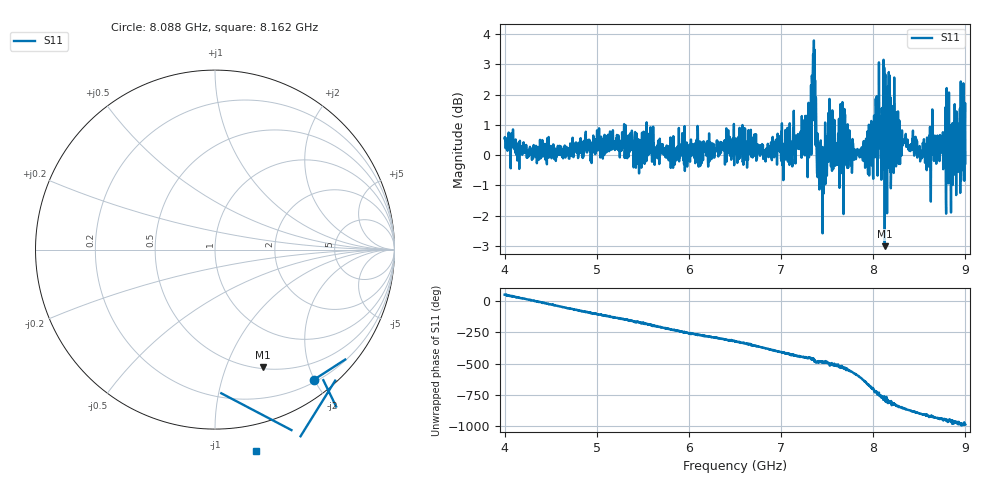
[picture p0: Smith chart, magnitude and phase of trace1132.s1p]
! Created with skrf 1.8.0 (http://scikit-rf.org).
# Hz S RI R 50.0
!freq ReS11 ImS11
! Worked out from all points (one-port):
!   1601 points, 4 GHz to 9 GHz, reference 50 ohm
!   lowest |S11| = -3.0 dB at 8.125 GHz (marker M1), VSWR 5.83, Z = 25.9 - j67.8 ohm
!   |S11| at or under -10 dB: nowhere
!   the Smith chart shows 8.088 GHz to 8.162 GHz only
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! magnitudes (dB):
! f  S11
! 4 GHz  0.6
! 4.625 GHz  -0.1
! 5.25 GHz  -0.1
! 5.875 GHz  0.3
! 6.5 GHz  0.3
! 7.125 GHz  0.3
! 7.297 GHz  1.7
! 7.356 GHz  3.8
! 7.4 GHz  0.4
! 7.428 GHz  0.1
! 7.475 GHz  -1.0
! 7.534 GHz  0.9
! 7.588 GHz  -0.4
! 7.669 GHz  0.2
! 7.75 GHz  0.0
! 7.981 GHz  1.1
! 8.047 GHz  -0.7
! 8.066 GHz  0.9
! 8.125 GHz  -3.0
! 8.15 GHz  -1.9
! 8.153 GHz  0.8
! 8.197 GHz  0.2
! 8.375 GHz  0.3
! 8.6 GHz  0.5
! 8.759 GHz  -0.5
! 8.841 GHz  -0.3
! 8.953 GHz  -0.8
! 9 GHz  -0.3
